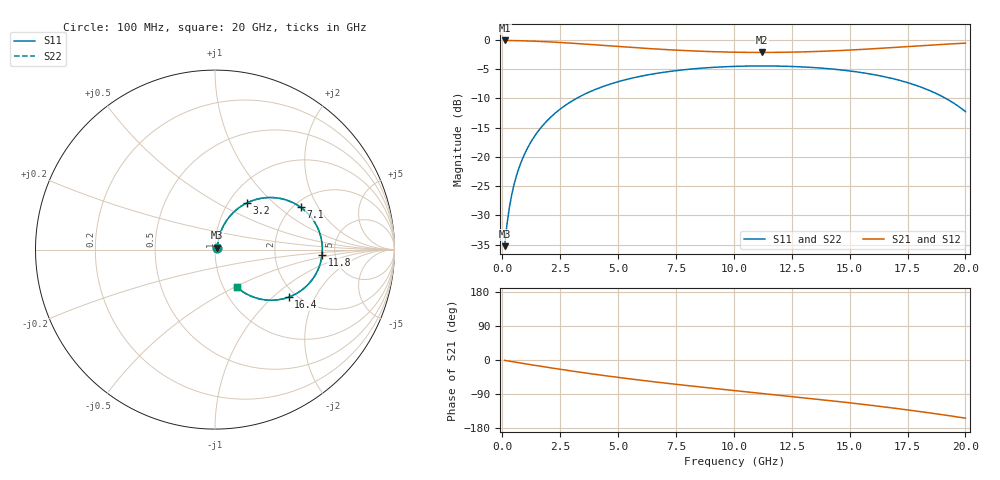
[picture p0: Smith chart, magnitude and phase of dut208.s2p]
! Touchstone file exported from HFSS 2026.1.0
!  File:  C:/ffzhzh/LocalFiles/Ansys_Project_Files/temp_train_TSV_RDL_208_1783061496_45820.aedt
!  Generated:  03:01:20 PM Jul  3, 2026
!  Design:  TSV_RDL
!  Project:  temp_train_TSV_RDL_208_1783061496_45820
! Variables:
!  h_bsmrdl = 5.98um
!  h_ox = 20um
!  h_rdl = 5um
!  h_sub = 64.83um
!  h_tmrdl = 3.47um
!  h_tsv = 64.83um
!  h_via = 3um
!  l_bsmrdl = 557.89um
!  l_sub = 2577.57um
!  l_tmrdl = 107.48um
!  m_sub = 200um
!  pitch = 55.22um
!  r_tsv = 14.87um
!  s_tmrdl = 10um
!  w_bsmrdl = 11.75um
!  w_sub = 500um
!  w_tmrdl = 12.91um
!  x_tsv_center1 = 113.935um
!  x_tsv_center2 = 683.575um
!  x_tsv_center3 = 803.965um
!  x_tsv_center4 = 1373.605um
!  x_tsv_center5 = 1493.995um
!  x_tsv_center6 = 2063.635um
# GHz S MA R 50.000000
! Terminal data exported
! Port[1] = TM_RDL1_1_T1
! Port[2] = TM_RDL5_1_T1
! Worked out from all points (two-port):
!   200 points, 100 MHz to 20 GHz, reference 50 ohm
!   highest |S21| = -0.11 dB at 100 MHz (marker M1); lowest = -2.2 dB at 11.2 GHz (marker M2)
!   |S21| within 3 dB of the highest: start of sweep to end of sweep
!   lowest |S11| = -35.3 dB at 100 MHz (marker M3), VSWR 1.04, Z = 51.3 + j1.14 ohm
!   |S11| at or under -10 dB: start of sweep to 3.212 GHz; 19.15 GHz to end of sweep
!   |S22| runs from -35.3 to -4.5 dB; largest |S21 - S12| = 1.6e-14
!   S11 on the Smith chart (normalised r, x): 100 MHz: 1.03, +0.02; 3.2 GHz: 1.21, +0.70; 7.1 GHz: 2.18, +1.43; 11.8 GHz: 3.92, -0.39; 16.4 GHz: 1.82, -1.27; 20 GHz: 1.16, -0.52
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0.1  0.01725 40.2  0.987 -1.0  0.987 -1.0  0.01725 40.2
! Gamma 0 0 0 0
! Port Impedance 50 0 50 0
0.2  0.0262 57.5  0.9865 -2.1  0.9865 -2.1  0.0262 57.5
0.3  0.03629 64.9  0.9858 -3.1  0.9858 -3.1  0.03629 64.9
0.4  0.04668 68.6  0.9851 -4.1  0.9851 -4.1  0.04668 68.6
0.7  0.0782 72.1  0.9823 -7.1  0.9823 -7.1  0.0782 72.1
1  0.1096 71.9  0.9788 -10.1  0.9788 -10.1  0.1096 71.9
1.4  0.1507 69.9  0.9726 -14.0  0.9726 -14.0  0.1507 69.8
1.9  0.2001 66.2  0.9628 -18.9  0.9628 -18.9  0.2001 66.2
3.2  0.3153 55.6  0.9295 -30.8  0.9295 -30.8  0.3153 55.6
3.5  0.3388 53.1  0.9209 -33.5  0.9209 -33.5  0.3388 53.1
5  0.4384 41.3  0.8769 -45.9  0.8769 -45.9  0.4384 41.3
6.8  0.5218 28.4  0.8305 -59.3  0.8305 -59.3  0.5218 28.4
7.1  0.5323 26.3  0.8239 -61.4  0.8239 -61.4  0.5323 26.3
8.6  0.5722 16.6  0.7977 -71.5  0.7977 -71.5  0.5722 16.6
10.1  0.5933 7.2  0.7829 -81.1  0.7829 -81.1  0.5933 7.2
11.2  0.5979 0.5  0.7797 -88.1  0.7797 -88.1  0.5979 0.5
11.8  0.5967 -3.1  0.7806 -91.9  0.7806 -91.9  0.5967 -3.1
13.4  0.5799 -13.0  0.7923 -102.1  0.7923 -102.1  0.58 -13.0
16.4  0.4883 -32.9  0.8471 -123.1  0.8471 -123.1  0.4884 -32.9
16.7  0.474 -35.0  0.8544 -125.3  0.8544 -125.3  0.4741 -35.0
18.6  0.3581 -49.2  0.9035 -140.8  0.9035 -140.8  0.3581 -49.2
20  0.2438 -59.7  0.936 -153.5  0.936 -153.5  0.2438 -59.7
